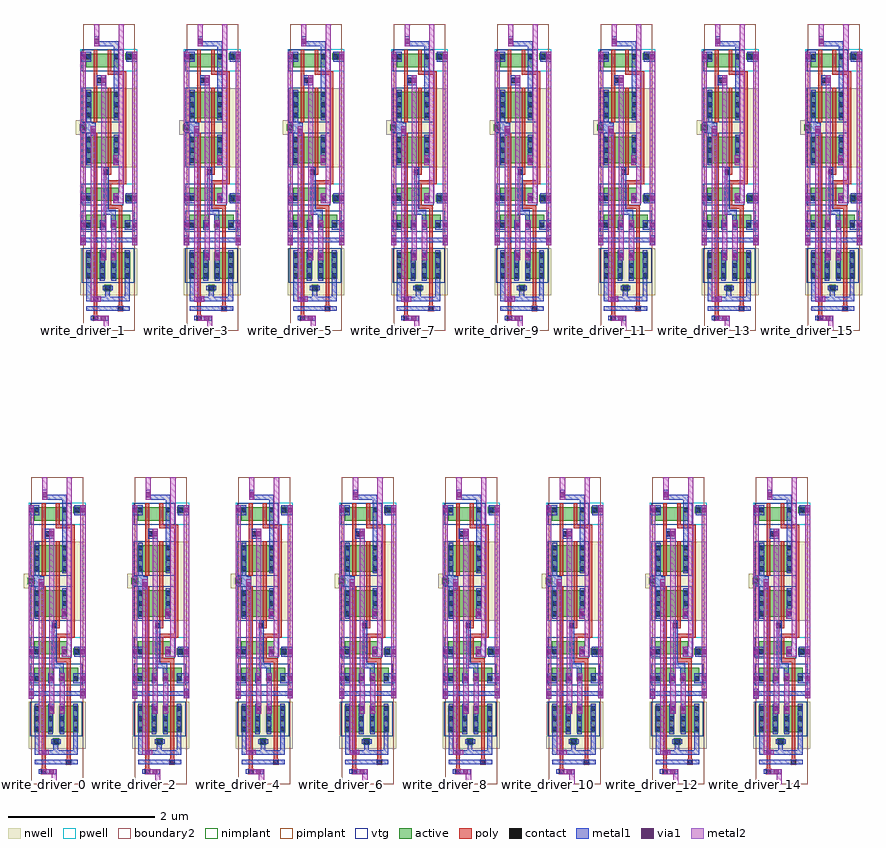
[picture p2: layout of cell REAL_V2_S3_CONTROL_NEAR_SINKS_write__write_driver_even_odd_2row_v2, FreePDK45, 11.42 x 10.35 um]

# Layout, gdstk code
import gdstk
lib = gdstk.Library(unit=1e-6, precision=5e-10)
def R(c, l, rs):  # rectangles x0, y0, x1, y1
    for r in rs: c.add(gdstk.rectangle(r[:2], r[2:], *l))
def A(c, l, x, y, w, h, nx, ny, dx, dy):  # array of equal rectangles
    R(c, l, [(x+i*dx, y+j*dy, x+i*dx+w, y+j*dy+h) for i in range(nx) for j in range(ny)])
active = (1, 0)
pwell = (2, 0)
nwell = (3, 0)
nimplant = (4, 0)
pimplant = (5, 0)
vtg = (6, 0)
poly = (9, 0)
contact = (10, 0)
metal1 = (11, 0)
via1 = (12, 0)
metal2 = (13, 0)
boundary2 = (239, 0)

real_v2_s3_control_near_ = lib.new_cell('REAL_V2_S3_CONTROL_NEAR_SINKS_write__write_driver_even_odd_2row_unit__0__write_driver')
R(real_v2_s3_control_near_, active, [(0.2925,0.535,0.3825,0.625), (0.04,0.705,0.115,1.065), (0.04,0.705,0.115,1.065), (0.04,0.705,0.3,1.065), (0.225,0.705,0.3,1.065), (0.225,0.705,0.3,1.065), (0.38,0.705,0.455,1.065), (0.38,0.705,0.455,1.065), (0.38,0.705,0.64,1.065), (0.565,0.705,0.64,1.065), (0.565,0.705,0.64,1.065), (0.04,0.71,0.115,1.065), (0.225,0.71,0.3,1.065), (0.38,0.71,0.455,1.065), (0.565,0.71,0.64,1.065), (0.04,1.4,0.115,1.58), (0.04,1.4,0.115,1.58), (0.04,1.4,0.3,1.58), (0.04,1.4,0.115,1.475), (0.225,1.4,0.3,1.58), (0.225,1.4,0.3,1.58), (0.225,1.4,0.3,1.475), (0.38,1.4,0.455,1.58), (0.38,1.4,0.455,1.58), (0.38,1.4,0.64,1.58), (0.38,1.4,0.455,1.475), (0.565,1.4,0.64,1.58), (0.565,1.4,0.64,1.58), (0.565,1.4,0.64,1.475), (0.5725,1.7575,0.6625,1.8475), (0.04,1.765,0.115,1.945), (0.04,1.765,0.115,1.945), (0.04,1.765,0.115,1.84), (0.04,1.765,0.49,1.945), (0.1975,1.765,0.3375,1.945), (0.415,1.765,0.49,1.945), (0.415,1.765,0.49,1.945), (0.415,1.765,0.49,1.84), (0.04,2.28,0.115,2.64), (0.04,2.28,0.115,2.64), (0.04,2.28,0.115,2.635), (0.04,2.28,0.49,2.64), (0.1975,2.28,0.3375,2.64), (0.415,2.28,0.49,2.64), (0.415,2.28,0.49,2.64), (0.415,2.28,0.49,2.635), (-0.045,2.72,0.045,2.81), (0.04,2.8925,0.115,3.2525), (0.04,2.8925,0.115,3.2525), (0.04,2.8925,0.49,3.2525), (0.1925,2.8925,0.3325,3.2525), (0.415,2.8925,0.49,3.2525), (0.415,2.8925,0.49,3.2525), (0.04,2.8975,0.115,3.2525), (0.415,2.8975,0.49,3.2525), (0.04,3.5875,0.115,3.7675), (0.04,3.5875,0.115,3.7675), (0.04,3.5875,0.49,3.7675), (0.1925,3.5875,0.3325,3.7675), (0.415,3.5875,0.49,3.7675), (0.415,3.5875,0.49,3.7675), (0.575,3.685,0.665,3.775), (0.04,3.6925,0.115,3.7675), (0.415,3.6925,0.49,3.7675)])
R(real_v2_s3_control_near_, pwell, [(-0.035,1.345,0.74,2), (-0.015,1.345,0.355,1.635), (0.325,1.345,0.695,1.635), (0.5175,1.7025,0.7175,1.9025), (-0.015,1.71,0.545,2), (-0.035,3.5325,0.74,3.83), (-0.015,3.5325,0.545,3.8225), (0.52,3.63,0.72,3.83)])
R(real_v2_s3_control_near_, nwell, [(-0.035,0.48,0.74,1.12), (0.2375,0.48,0.4375,0.68), (-0.015,0.65,0.355,1.12), (0.325,0.65,0.695,1.12), (-0.035,2.225,0.74,3.3), (-0.015,2.225,0.545,2.695), (-0.1,2.665,0.1,2.865), (-0.015,2.8375,0.545,3.3075)])
R(real_v2_s3_control_near_, nimplant, [(0.2925,0.535,0.3825,0.625), (0.04,1.4,0.3,1.58), (0.38,1.4,0.64,1.58), (0.04,1.765,0.49,1.945), (-0.045,2.72,0.045,2.81), (0.04,3.5875,0.49,3.7675)])
R(real_v2_s3_control_near_, pimplant, [(0.04,0.705,0.3,1.065), (0.38,0.705,0.64,1.065), (0.5725,1.7575,0.6625,1.8475), (0.04,2.28,0.49,2.64), (0.04,2.8925,0.49,3.2525), (0.575,3.685,0.665,3.775)])
R(real_v2_s3_control_near_, vtg, [(-0.015,0.65,0.355,1.12), (0.325,0.65,0.695,1.12), (-0.015,1.345,0.355,1.635), (0.325,1.345,0.695,1.635), (-0.015,1.71,0.545,2), (-0.015,2.225,0.545,2.695), (-0.015,2.8375,0.545,3.3075), (-0.015,3.5325,0.545,3.8225)])
R(real_v2_s3_control_near_, poly, [(0.1325,0.1325,0.2075,0.2075), (0.145,0.1375,0.195,0.65), (0.4725,0.2625,0.5475,0.3375), (0.485,0.2675,0.535,0.65), (0.145,0.65,0.195,0.705), (0.145,0.65,0.195,1.12), (0.485,0.65,0.535,0.705), (0.485,0.65,0.535,1.12), (0.145,1.065,0.195,1.12), (0.485,1.065,0.535,1.12), (0.145,1.12,0.195,1.345), (0.485,1.12,0.535,1.345), (0.145,1.345,0.195,1.635), (0.145,1.345,0.195,1.4), (0.485,1.345,0.535,1.635), (0.485,1.345,0.535,1.4), (0.145,1.58,0.195,1.635), (0.485,1.58,0.535,1.635), (0.145,1.635,0.195,1.71), (0.485,1.635,0.535,1.66), (0.335,1.66,0.535,1.71), (0.145,1.71,0.195,2), (0.145,1.71,0.195,1.765), (0.335,1.71,0.385,2), (0.335,1.71,0.385,1.765), (0.145,1.945,0.195,2), (0.335,1.945,0.385,2), (0.335,1.995,0.59,2.045), (0.54,1.995,0.59,3.4825), (0.145,2,0.195,2.225), (0.2775,2.12,0.3525,2.195), (0.335,2.12,0.385,2.225), (0.145,2.225,0.195,2.28), (0.145,2.225,0.195,2.695), (0.335,2.225,0.385,2.28), (0.335,2.225,0.385,2.695), (0.145,2.64,0.195,2.695), (0.335,2.64,0.385,2.695), (0.335,2.695,0.385,2.8375), (0.145,2.8375,0.195,2.8925), (0.145,2.8375,0.195,3.3075), (0.335,2.8375,0.385,2.8925), (0.335,2.8375,0.385,3.3075), (0.145,3.2525,0.195,3.3075), (0.335,3.2525,0.385,3.3075), (0.145,3.3075,0.195,3.5325), (0.18,3.37,0.255,3.445), (0.335,3.4825,0.59,3.5325), (0.145,3.5325,0.195,3.8225), (0.145,3.5325,0.195,3.5875), (0.335,3.5325,0.385,3.8225), (0.335,3.5325,0.385,3.5875), (0.145,3.7675,0.195,3.8225), (0.335,3.7675,0.385,3.8225)])
A(real_v2_s3_control_near_, contact, 0.045, 0.715, 0.065, 0.065, 1, 3, 0, 0.14)
A(real_v2_s3_control_near_, contact, 0.23, 0.715, 0.065, 0.065, 1, 3, 0, 0.14)
A(real_v2_s3_control_near_, contact, 0.385, 0.715, 0.065, 0.065, 1, 3, 0, 0.14)
A(real_v2_s3_control_near_, contact, 0.57, 0.715, 0.065, 0.065, 1, 3, 0, 0.14)
A(real_v2_s3_control_near_, contact, 0.045, 2.285, 0.065, 0.065, 1, 3, 0, 0.14)
A(real_v2_s3_control_near_, contact, 0.42, 2.285, 0.065, 0.065, 1, 3, 0, 0.14)
A(real_v2_s3_control_near_, contact, 0.045, 2.9025, 0.065, 0.065, 1, 3, 0, 0.14)
A(real_v2_s3_control_near_, contact, 0.42, 2.9025, 0.065, 0.065, 1, 3, 0, 0.14)
R(real_v2_s3_control_near_, contact, [(0.1375,0.1375,0.2025,0.2025), (0.4775,0.2675,0.5425,0.3325), (0.305,0.5475,0.37,0.6125), (0.045,1.405,0.11,1.47), (0.23,1.405,0.295,1.47), (0.385,1.405,0.45,1.47), (0.57,1.405,0.635,1.47), (0.045,1.77,0.11,1.835), (0.42,1.77,0.485,1.835), (0.585,1.77,0.65,1.835), (0.2825,2.125,0.3475,2.19), (-0.0325,2.7325,0.0325,2.7975), (0.185,3.375,0.25,3.44), (0.045,3.6975,0.11,3.7625), (0.42,3.6975,0.485,3.7625), (0.5875,3.6975,0.6525,3.7625)])
R(real_v2_s3_control_near_, metal1, [(0.2075,0.135,0.3425,0.2), (0.1025,0.1375,0.2375,0.2025), (0.045,0.2675,0.635,0.3325), (0.045,0.3975,0.635,0.4625), (0.105,0.3975,0.24,0.4625), (0.045,0.4625,0.11,0.68), (0.3025,0.4625,0.3675,0.6125), (0.57,0.4625,0.635,0.68), (0.27,0.5475,0.405,0.6125), (0.045,0.68,0.11,1.095), (0.23,0.68,0.295,1.095), (0.385,0.68,0.45,1.095), (0.57,0.68,0.635,1.095), (0.2475,0.96,0.3125,1.095), (0.3875,0.96,0.4525,1.095), (-0.0325,1.165,0.0325,1.3), (0.6725,1.165,0.7375,1.3), (-0.035,1.2,0.74,1.265), (-0.0325,1.37,0.0325,1.505), (0.0275,1.37,0.04,1.505), (0.035,1.37,0.045,1.505), (0.045,1.37,0.11,1.505), (0.23,1.37,0.295,1.505), (0.2475,1.37,0.3125,1.505), (0.385,1.37,0.45,1.505), (0.3875,1.37,0.4525,1.505), (0.57,1.37,0.635,1.505), (0.63,1.37,0.6725,1.505), (0.6725,1.37,0.7375,1.505), (0.38,1.4525,0.445,1.5775), (0.2825,1.5775,0.3475,2.175), (0.2825,1.5775,0.445,1.6425), (-0.0325,1.735,0.0325,1.87), (0.0275,1.735,0.04,1.87), (0.035,1.735,0.045,1.87), (0.045,1.735,0.11,1.87), (0.4175,1.735,0.4825,1.87), (0.42,1.735,0.485,1.87), (0.585,1.735,0.65,1.87), (0.65,1.735,0.6725,1.87), (0.6725,1.735,0.7375,1.87), (0.2825,2.09,0.3475,2.225), (0.045,2.25,0.11,2.665), (0.4175,2.25,0.4825,2.385), (0.42,2.25,0.485,2.665), (0.095,2.65,0.11,2.785), (0.1075,2.65,0.1725,2.785), (0.045,2.665,0.11,2.8675), (-0.0325,2.6975,0.0325,2.8325), (0.0325,2.6975,0.175,2.8325), (0.045,2.8675,0.11,3.2825), (0.42,2.8675,0.485,3.2825), (0.42,3.2825,0.485,3.6625), (0.185,3.34,0.25,3.475), (0.2475,3.34,0.3125,3.475), (-0.0325,3.6625,0.0325,3.7975), (0.0275,3.6625,0.04,3.7975), (0.035,3.6625,0.045,3.7975), (0.045,3.6625,0.11,3.7975), (0.42,3.6625,0.485,3.7975), (0.5875,3.6625,0.6525,3.7975), (0.6525,3.6625,0.6725,3.7975), (0.6725,3.6625,0.7375,3.7975), (0.42,3.7975,0.485,3.8725), (0.15,3.8725,0.485,3.9375), (0.1525,3.8725,0.2175,4.0075)])
R(real_v2_s3_control_near_, via1, [(0.2425,0.135,0.3075,0.2), (0.14,0.3975,0.205,0.4625), (0.2475,0.995,0.3125,1.06), (0.3875,0.995,0.4525,1.06), (-0.0325,1.2,0.0325,1.265), (0.6725,1.2,0.7375,1.265), (-0.0325,1.405,0.0325,1.47), (0.2475,1.405,0.3125,1.47), (0.3875,1.405,0.4525,1.47), (0.6725,1.405,0.7375,1.47), (-0.0325,1.77,0.0325,1.835), (0.4175,1.77,0.4825,1.835), (0.6725,1.77,0.7375,1.835), (0.4175,2.285,0.4825,2.35), (0.1075,2.685,0.1725,2.75), (0.2475,3.375,0.3125,3.44), (-0.0325,3.6975,0.0325,3.7625), (0.6725,3.6975,0.7375,3.7625), (0.1525,3.9075,0.2175,3.9725)])
R(real_v2_s3_control_near_, metal2, [(0.28,0,0.35,0.14), (0.1575,0.1325,0.35,0.2025), (0.2075,0.1325,0.3425,0.2025), (0.105,0.395,0.24,0.465), (0.105,0.465,0.175,2.785), (0.245,0.96,0.315,1.095), (0.385,0.96,0.455,1.095), (0.245,1.095,0.315,1.37), (0.385,1.095,0.455,1.37), (-0.035,1.1625,0.035,3.7975), (-0.035,1.165,0.035,1.3), (0.67,1.165,0.74,3.7975), (0.67,1.165,0.74,1.3), (-0.035,1.37,0.035,1.505), (0.245,1.37,0.315,3.4675), (0.245,1.37,0.315,1.505), (0.385,1.37,0.455,1.505), (0.67,1.37,0.74,1.505), (-0.035,1.735,0.035,1.87), (0.415,1.735,0.485,1.87), (0.485,1.735,0.555,4.175), (0.67,1.735,0.74,1.87), (0.415,2.25,0.485,2.385), (0.105,2.65,0.175,2.785), (0.245,3.34,0.315,3.475), (-0.035,3.6625,0.035,3.7975), (0.67,3.6625,0.74,3.7975), (0.15,3.8725,0.22,4.0075), (0.15,3.875,0.22,4.175)])
R(real_v2_s3_control_near_, boundary2, [(0,0,0.705,4.175)])
real_v2_s3_control_near_.add(gdstk.Label('en', (0.3325,0.3), layer=11, texttype=0))
real_v2_s3_control_near_.add(gdstk.Label('din', (0.32,0.035), layer=13, texttype=0))
real_v2_s3_control_near_.add(gdstk.Label('vdd', (0.1725,0.4325), layer=13, texttype=0))
real_v2_s3_control_near_.add(gdstk.Label('br', (0.52,4.15), layer=13, texttype=0))
real_v2_s3_control_near_.add(gdstk.Label('bl', (0.19,4.138), layer=13, texttype=0))
real_v2_s3_control_near_.add(gdstk.Label('gnd', (-0.005,1.57), layer=13, texttype=0))

c_real_v2_s3_control_near_ = lib.new_cell('REAL_V2_S3_CONTROL_NEAR_SINKS_write__write_driver_even_odd_2row_v2')
c_real_v2_s3_control_near_.add(gdstk.Reference(real_v2_s3_control_near_, (0.1,0)))
c_real_v2_s3_control_near_.add(gdstk.Reference(real_v2_s3_control_near_, (0.805,6.175)))
c_real_v2_s3_control_near_.add(gdstk.Reference(real_v2_s3_control_near_, (1.51,0)))
c_real_v2_s3_control_near_.add(gdstk.Reference(real_v2_s3_control_near_, (2.215,6.175)))
c_real_v2_s3_control_near_.add(gdstk.Reference(real_v2_s3_control_near_, (2.92,0)))
c_real_v2_s3_control_near_.add(gdstk.Reference(real_v2_s3_control_near_, (3.625,6.175)))
c_real_v2_s3_control_near_.add(gdstk.Reference(real_v2_s3_control_near_, (4.33,0)))
c_real_v2_s3_control_near_.add(gdstk.Reference(real_v2_s3_control_near_, (5.035,6.175)))
c_real_v2_s3_control_near_.add(gdstk.Reference(real_v2_s3_control_near_, (5.74,0)))
c_real_v2_s3_control_near_.add(gdstk.Reference(real_v2_s3_control_near_, (6.445,6.175)))
c_real_v2_s3_control_near_.add(gdstk.Reference(real_v2_s3_control_near_, (7.15,0)))
c_real_v2_s3_control_near_.add(gdstk.Reference(real_v2_s3_control_near_, (7.855,6.175)))
c_real_v2_s3_control_near_.add(gdstk.Reference(real_v2_s3_control_near_, (8.56,0)))
c_real_v2_s3_control_near_.add(gdstk.Reference(real_v2_s3_control_near_, (9.265,6.175)))
c_real_v2_s3_control_near_.add(gdstk.Reference(real_v2_s3_control_near_, (9.97,0)))
c_real_v2_s3_control_near_.add(gdstk.Reference(real_v2_s3_control_near_, (10.675,6.175)))
c_real_v2_s3_control_near_.add(gdstk.Label('write_driver_0', (0.1,0), layer=11, texttype=2))
c_real_v2_s3_control_near_.add(gdstk.Label('write_driver_1', (0.805,6.175), layer=11, texttype=2))
c_real_v2_s3_control_near_.add(gdstk.Label('write_driver_2', (1.51,0), layer=11, texttype=2))
c_real_v2_s3_control_near_.add(gdstk.Label('write_driver_3', (2.215,6.175), layer=11, texttype=2))
c_real_v2_s3_control_near_.add(gdstk.Label('write_driver_4', (2.92,0), layer=11, texttype=2))
c_real_v2_s3_control_near_.add(gdstk.Label('write_driver_5', (3.625,6.175), layer=11, texttype=2))
c_real_v2_s3_control_near_.add(gdstk.Label('write_driver_6', (4.33,0), layer=11, texttype=2))
c_real_v2_s3_control_near_.add(gdstk.Label('write_driver_7', (5.035,6.175), layer=11, texttype=2))
c_real_v2_s3_control_near_.add(gdstk.Label('write_driver_8', (5.74,0), layer=11, texttype=2))
c_real_v2_s3_control_near_.add(gdstk.Label('write_driver_9', (6.445,6.175), layer=11, texttype=2))
c_real_v2_s3_control_near_.add(gdstk.Label('write_driver_10', (7.15,0), layer=11, texttype=2))
c_real_v2_s3_control_near_.add(gdstk.Label('write_driver_11', (7.855,6.175), layer=11, texttype=2))
c_real_v2_s3_control_near_.add(gdstk.Label('write_driver_12', (8.56,0), layer=11, texttype=2))
c_real_v2_s3_control_near_.add(gdstk.Label('write_driver_13', (9.265,6.175), layer=11, texttype=2))
c_real_v2_s3_control_near_.add(gdstk.Label('write_driver_14', (9.97,0), layer=11, texttype=2))
c_real_v2_s3_control_near_.add(gdstk.Label('write_driver_15', (10.675,6.175), layer=11, texttype=2))

lib.write_gds('REAL_V2_S3_CONTROL_NEAR_SINKS_write__write_driver_even_odd_2row_v2.gds')
